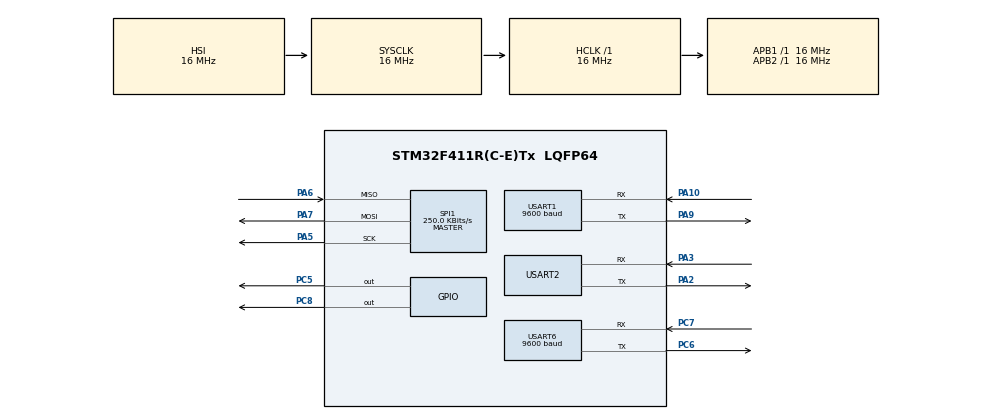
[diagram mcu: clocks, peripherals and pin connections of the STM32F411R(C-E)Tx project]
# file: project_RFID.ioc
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Dma.Request0=USART1_RX
Dma.Request1=USART1_TX
Dma.Request2=USART6_RX
Dma.Request3=USART6_TX
Dma.USART1_RX.0.Direction=DMA_PERIPH_TO_MEMORY
Dma.USART1_RX.0.FIFOMode=DMA_FIFOMODE_DISABLE
Dma.USART1_RX.0.Instance=DMA2_Stream2
Dma.USART1_RX.0.MemDataAlignment=DMA_MDATAALIGN_BYTE
Dma.USART1_RX.0.MemInc=DMA_MINC_ENABLE
Dma.USART1_RX.0.Mode=DMA_CIRCULAR
Dma.USART1_RX.0.PeriphDataAlignment=DMA_PDATAALIGN_BYTE
Dma.USART1_RX.0.PeriphInc=DMA_PINC_DISABLE
Dma.USART1_RX.0.Priority=DMA_PRIORITY_LOW
Dma.USART1_TX.1.Direction=DMA_MEMORY_TO_PERIPH
Dma.USART1_TX.1.FIFOMode=DMA_FIFOMODE_DISABLE
Dma.USART1_TX.1.Instance=DMA2_Stream7
Dma.USART1_TX.1.MemDataAlignment=DMA_MDATAALIGN_BYTE
Dma.USART1_TX.1.MemInc=DMA_MINC_ENABLE
Dma.USART1_TX.1.Mode=DMA_CIRCULAR
Dma.USART1_TX.1.PeriphDataAlignment=DMA_PDATAALIGN_BYTE
Dma.USART1_TX.1.PeriphInc=DMA_PINC_DISABLE
Dma.USART1_TX.1.Priority=DMA_PRIORITY_LOW
Dma.USART6_RX.2.Direction=DMA_PERIPH_TO_MEMORY
Dma.USART6_RX.2.FIFOMode=DMA_FIFOMODE_DISABLE
Dma.USART6_RX.2.Instance=DMA2_Stream1
Dma.USART6_RX.2.MemDataAlignment=DMA_MDATAALIGN_BYTE
Dma.USART6_RX.2.MemInc=DMA_MINC_ENABLE
Dma.USART6_RX.2.Mode=DMA_CIRCULAR
Dma.USART6_RX.2.PeriphDataAlignment=DMA_PDATAALIGN_BYTE
Dma.USART6_RX.2.PeriphInc=DMA_PINC_DISABLE
Dma.USART6_RX.2.Priority=DMA_PRIORITY_LOW
Dma.USART6_TX.3.Direction=DMA_MEMORY_TO_PERIPH
Dma.USART6_TX.3.FIFOMode=DMA_FIFOMODE_DISABLE
Dma.USART6_TX.3.Instance=DMA2_Stream6
Dma.USART6_TX.3.MemDataAlignment=DMA_MDATAALIGN_BYTE
Dma.USART6_TX.3.MemInc=DMA_MINC_ENABLE
Dma.USART6_TX.3.Mode=DMA_CIRCULAR
Dma.USART6_TX.3.PeriphDataAlignment=DMA_PDATAALIGN_BYTE
Dma.USART6_TX.3.PeriphInc=DMA_PINC_DISABLE
Dma.USART6_TX.3.Priority=DMA_PRIORITY_LOW
Mcu.Family=STM32F4
Mcu.Name=STM32F411R(C-E)Tx
Mcu.Package=LQFP64
NVIC.DMA2_Stream1_IRQn=true\:0\:0\:false\:false\:true\:false\:true\:true
NVIC.DMA2_Stream2_IRQn=true\:0\:0\:false\:false\:true\:false\:true\:true
NVIC.DMA2_Stream6_IRQn=true\:0\:0\:false\:false\:true\:false\:true\:true
NVIC.DMA2_Stream7_IRQn=true\:0\:0\:false\:false\:true\:false\:true\:true
NVIC.PriorityGroup=NVIC_PRIORITYGROUP_4
NVIC.USART1_IRQn=true\:0\:0\:false\:false\:true\:true\:true\:true
NVIC.USART2_IRQn=true\:0\:0\:false\:false\:true\:true\:true\:true
NVIC.USART6_IRQn=true\:0\:0\:false\:false\:true\:true\:true\:true
PA10.Mode=Asynchronous
PA10.Signal=USART1_RX
PA13.Mode=Serial_Wire
PA13.Signal=SYS_JTMS-SWDIO
PA14.Mode=Serial_Wire
PA14.Signal=SYS_JTCK-SWCLK
PA2.Mode=Asynchronous
PA2.Signal=USART2_TX
PA3.Mode=Asynchronous
PA3.Signal=USART2_RX
PA5.Mode=Full_Duplex_Master
PA5.Signal=SPI1_SCK
PA6.Mode=Full_Duplex_Master
PA6.Signal=SPI1_MISO
PA7.Mode=Full_Duplex_Master
PA7.Signal=SPI1_MOSI
PA9.Mode=Asynchronous
PA9.Signal=USART1_TX
PC5.Signal=GPIO_Output
PC6.Mode=Asynchronous
PC6.Signal=USART6_TX
PC7.Mode=Asynchronous
PC7.Signal=USART6_RX
PC8.Signal=GPIO_Output
ProjectManager.HeapSize=0x200
ProjectManager.StackSize=0x400
ProjectManager.TargetToolchain=STM32CubeIDE
RCC.AHBFreq_Value=16000000
RCC.APB1Freq_Value=16000000
RCC.APB2Freq_Value=16000000
RCC.CortexFreq_Value=16000000
RCC.HSE_VALUE=25000000
RCC.HSI_VALUE=16000000
RCC.LSE_VALUE=32768
RCC.SYSCLKFreq_VALUE=16000000
RCC.VCOOutputFreq_Value=192000000
SPI1.BaudRatePrescaler=SPI_BAUDRATEPRESCALER_64
SPI1.CalculateBaudRate=250.0 KBits/s
SPI1.Direction=SPI_DIRECTION_2LINES
SPI1.Mode=SPI_MODE_MASTER
SPI1.VirtualType=VM_MASTER
USART1.BaudRate=9600
USART1.VirtualMode=VM_ASYNC
USART2.VirtualMode=VM_ASYNC
USART6.BaudRate=9600
USART6.VirtualMode=VM_ASYNC
board=custom

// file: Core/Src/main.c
/* USER CODE BEGIN Header */
/**
  ******************************************************************************
  * @file           : main.c
  * @brief          : Main program body
  ******************************************************************************
  * @attention
  *
  * Copyright (c) 2026 STMicroelectronics.
  * All rights reserved.
  *
  * This software is licensed under terms that can be found in the LICENSE file
  * in the root directory of this software component.
  * If no LICENSE file comes with this software, it is provided AS-IS.
  *
  ******************************************************************************
  */
/* USER CODE END Header */
#include "main.h"
#include "dma.h"
#include "spi.h"
#include "usart.h"
#include "gpio.h"

/* USER CODE BEGIN Includes */
#include "rfid.h"
#include "stdio.h"
#include "string.h"
/* USER CODE END Includes */

/* USER CODE BEGIN PV */

volatile uint8_t locked = 0; // 차후 택배가 들어왔음을 확인하기 위한 flag
volatile uint8_t accepted = 0;
static uint32_t prevTick = 0;
uint8_t test = 0;

uint8_t flag0 = 1;
uint8_t flag1 = 0;
uint8_t flag2 = 1;
uint8_t flag3 = 0;
uint8_t flag4 = 0;
uint8_t flag5 = 0;

uint8_t code[1];

uint8_t rx1_buffer[100]; // 블루투스용 넉넉한 버퍼
uint8_t rx6_buffer[100]; // PC용 넉넉한 버퍼

uint8_t prevAccepted = 0;

/* USER CODE END PV */

void SystemClock_Config(void);

int main(void)
{

  /* MCU Configuration--------------------------------------------------------*/

  /* Reset of all peripherals, Initializes the Flash interface and the Systick. */
  HAL_Init();

  /* Configure the system clock */
  SystemClock_Config();

  /* Initialize all configured peripherals */
  MX_GPIO_Init();
  MX_DMA_Init();
  MX_SPI1_Init();
  MX_USART2_UART_Init();
  MX_USART1_UART_Init();
  MX_USART6_UART_Init();
  /* USER CODE BEGIN 2 */
  RC522_Init(); // RFID 활성화
  HAL_UARTEx_ReceiveToIdle_DMA(&huart1, rx1_buffer, 100);
  HAL_UARTEx_ReceiveToIdle_DMA(&huart6, rx6_buffer, 100);
  /* USER CODE END 2 */

  /* Infinite loop */
  /* USER CODE BEGIN WHILE */
  while (1)
  {
    uint32_t now = HAL_GetTick();

    if((now - prevTick) > 1)
    {
      prevTick = now;
      RFID_Task();

      if((accepted == 1) && (prevAccepted == 0))
      {
        flag0 = 1;
        flag1 = 0;
        char msg[] = "accepted";
        HAL_UART_Transmit(&huart6, (uint8_t*)msg, sizeof(msg)-1, 100);
      }
      prevAccepted = accepted;
    }
    /* USER CODE END WHILE */

  }
}

void SystemClock_Config(void)
{
  RCC_OscInitTypeDef RCC_OscInitStruct = {0};
  RCC_ClkInitTypeDef RCC_ClkInitStruct = {0};

  /** Configure the main internal regulator output voltage
  */
  __HAL_RCC_PWR_CLK_ENABLE();
  __HAL_PWR_VOLTAGESCALING_CONFIG(PWR_REGULATOR_VOLTAGE_SCALE1);

  /** Initializes the RCC Oscillators according to the specified parameters
  * in the RCC_OscInitTypeDef structure.
  */
  RCC_OscInitStruct.OscillatorType = RCC_OSCILLATORTYPE_HSI;
  RCC_OscInitStruct.HSIState = RCC_HSI_ON;
  RCC_OscInitStruct.HSICalibrationValue = RCC_HSICALIBRATION_DEFAULT;
  RCC_OscInitStruct.PLL.PLLState = RCC_PLL_NONE;
  if (HAL_RCC_OscConfig(&RCC_OscInitStruct) != HAL_OK)
  {
    Error_Handler();
  }

  /** Initializes the CPU, AHB and APB buses clocks
  */
  RCC_ClkInitStruct.ClockType = RCC_CLOCKTYPE_HCLK|RCC_CLOCKTYPE_SYSCLK
                              |RCC_CLOCKTYPE_PCLK1|RCC_CLOCKTYPE_PCLK2;
  RCC_ClkInitStruct.SYSCLKSource = RCC_SYSCLKSOURCE_HSI;
  RCC_ClkInitStruct.AHBCLKDivider = RCC_SYSCLK_DIV1;
  RCC_ClkInitStruct.APB1CLKDivider = RCC_HCLK_DIV1;
  RCC_ClkInitStruct.APB2CLKDivider = RCC_HCLK_DIV1;

  if (HAL_RCC_ClockConfig(&RCC_ClkInitStruct, FLASH_LATENCY_0) != HAL_OK)
  {
    Error_Handler();
  }
}

/* USER CODE BEGIN 4 */

void HAL_UARTEx_RxEventCallback(UART_HandleTypeDef *huart, uint16_t Size)
{
    // 1. UART1(블루투스) -> UART6(PC)
    if (huart->Instance == USART1)
    {
        // 받은 데이터 전송
        if(rx1_buffer[0] == '0')
        {
          flag0 = 1;
          flag1 = 0;
          accepted = 0;
        }
        else if(rx1_buffer[0] == '1')
        {
          flag0 = 0;
          flag1 = 1;
        }
        else if(rx1_buffer[0] == '2')
        {
          flag2 = 1;
          flag3 = 0;
        }
        else if(rx1_buffer[0] == '3')
        {
          flag2 = 0;
          flag3 = 1;
        }

        // flag 판단
        // 물체 판단
        if((flag0 == 1) && (locked == 1))
        {
          char msg[] = "Thief recored";
          locked = 0;
          code[0] = '4';
          flag4 = 1;
          HAL_UART_Transmit(&huart1, code, 1, 100);
          HAL_UART_Transmit(&huart6, (uint8_t*)msg, sizeof(msg)-1, 100);
        }

        if((flag1 == 1) && (locked == 0))
        {
          locked = 1;
        }

        // 사람 판단
        if(flag2 == 1)
        {
          if(flag5 == 1)
          {
            char msg[] = "Suspicious recored";
            HAL_UART_Transmit(&huart6, (uint8_t*)msg, sizeof(msg)-1, 100);
            flag5 = 0;
          }
        }

        if(flag3 == 1)
        {
          if(flag4 == 1)
          {
            char msg[] = "\r\n";
            HAL_UART_Transmit(&huart6, (uint8_t*)msg, sizeof(msg)-1, 100);
            flag4 = 0;
          }
          flag5 = 1;
          char msg[] = "Suspicious recording";
          HAL_UART_Transmit(&huart6, (uint8_t*)msg, sizeof(msg)-1, 100);
        }

        // DMA 수신 중단
        HAL_UART_AbortReceive(&huart1);

        // 버퍼 초기화
        memset(rx1_buffer, 0, 100);

        // 다시 수신 시작
        HAL_UARTEx_ReceiveToIdle_DMA(&huart1, rx1_buffer, 100);
    }

    // 2. UART6(PC) -> UART1(블루투스)
    if (huart->Instance == USART6)
    {
        HAL_UART_Transmit(&huart1, rx6_buffer, Size, 100);

        HAL_UART_AbortReceive(&huart6);

        memset(rx6_buffer, 0, 100);

        HAL_UARTEx_ReceiveToIdle_DMA(&huart6, rx6_buffer, 100);
    }
}

/* USER CODE END 4 */

void Error_Handler(void)
{
  __disable_irq();
  while (1)
  {
  }
}
